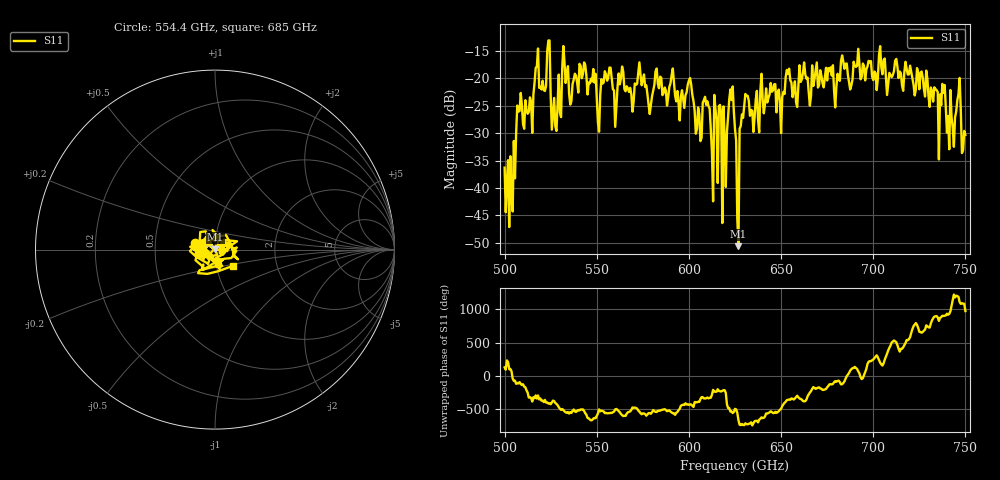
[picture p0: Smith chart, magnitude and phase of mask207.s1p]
!Created with skrf (http://scikit-rf.org).
# GHz S MA R 50.0
!freq magS11 angS11
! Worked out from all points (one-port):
!   401 points, 500 GHz to 750 GHz, reference 50 ohm
!   lowest |S11| = -50.6 dB at 626.9 GHz (marker M1), VSWR 1.01, Z = 50.2 + j0.241 ohm
!   |S11| at or under -10 dB: start of sweep to end of sweep
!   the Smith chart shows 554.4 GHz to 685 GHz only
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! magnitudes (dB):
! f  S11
! 500 GHz  -36.3
! 503.8 GHz  -42.1
! 508.1 GHz  -26.0
! 513.8 GHz  -23.5
! 516.9 GHz  -18.1
! 523.8 GHz  -13.1
! 526.9 GHz  -23.6
! 531.2 GHz  -18.2
! 542.5 GHz  -19.2
! 551.2 GHz  -29.7
! 562.5 GHz  -21.1
! 593.8 GHz  -22.3
! 600.6 GHz  -20.0
! 605.6 GHz  -26.5
! 609.4 GHz  -24.9
! 611.9 GHz  -29.3
! 616.2 GHz  -25.1
! 619.4 GHz  -31.0
! 623.1 GHz  -24.0
! 625 GHz  -29.3
! 626.9 GHz  -50.6
! 631.2 GHz  -23.2
! 656.2 GHz  -23.4
! 687.5 GHz  -22.0
! 718.8 GHz  -19.3
! 742.5 GHz  -27.1
! 746.2 GHz  -22.9
! 750 GHz  -30.3
